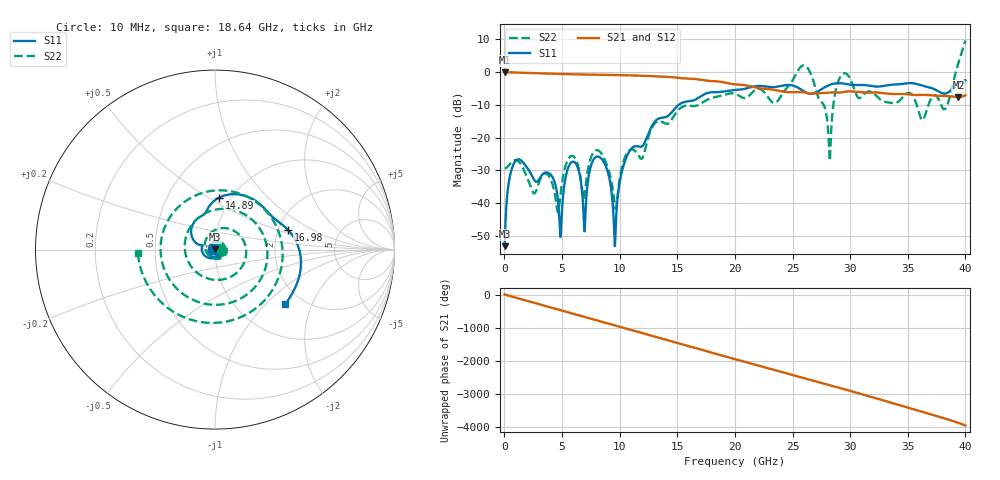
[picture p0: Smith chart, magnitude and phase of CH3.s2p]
!Keysight Technologies,N5245B,MY57181346,A.13.60.06
!Automatic Fixture Removal (AFR)
!Date: Thursday, August 08, 2019, 03:53:24
!S2P File: Measurements: S11,S21,S12,S22:
# MHz S  DB  R 50
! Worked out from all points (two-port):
!   4000 points, 10 MHz to 40 GHz, reference 50 ohm
!   highest |S21| = -0.01 dB at 10 MHz (marker M1); lowest = -7.6 dB at 39.4 GHz (marker M2)
!   |S21| within 3 dB of the highest: start of sweep to 18.87 GHz
!   lowest |S11| = -53.1 dB at 10 MHz (marker M3), VSWR 1.00, Z = 49.8 + j0.0607 ohm
!   |S11| at or under -10 dB: start of sweep to 15.12 GHz
!   |S22| runs from -42.8 to 9.7 dB; largest |S21 - S12| = 1.7e-14
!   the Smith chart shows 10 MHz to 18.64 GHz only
!   S11 on the Smith chart (normalised r, x): 10 MHz: 1.00, +0.00; 14.89 GHz: 0.88, +0.56; 16.98 GHz: 2.26, +0.60; 18.64 GHz: 1.62, -1.32
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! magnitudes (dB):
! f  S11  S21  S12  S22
! 10 MHz  -53.1  0.0  0.0  -29.4
! 1.09 GHz  -26.7  -0.2  -0.2  -27.0
! 4.07 GHz  -31.5  -0.5  -0.5  -33.3
! 4.84 GHz  -49.9  -0.6  -0.6  -37.9
! 5.72 GHz  -27.9  -0.7  -0.7  -25.7
! 6.68 GHz  -34.7  -0.7  -0.7  -34.4
! 6.97 GHz  -47.4  -0.7  -0.7  -36.7
! 8.38 GHz  -26.3  -0.8  -0.8  -24.7
! 9.6 GHz  -52.2  -0.9  -0.9  -41.2
! 10.6 GHz  -25.8  -1.0  -1.0  -24.9
! 13.34 GHz  -14.2  -1.3  -1.3  -15.0
! 14.89 GHz  -10.7  -1.7  -1.7  -12.4
! 16.98 GHz  -7.5  -2.3  -2.3  -9.7
! 18.64 GHz  -6.1  -2.9  -2.9  -7.3
! 20.01 GHz  -5.5  -3.7  -3.7  -6.6
! 26.67 GHz  -6.6  -6.6  -6.6  -1.3
! 28.2 GHz  -3.9  -6.2  -6.2  -25.8
! 29.38 GHz  -3.5  -6.1  -6.1  -0.5
! 33.34 GHz  -3.9  -6.6  -6.6  -9.3
! 38.21 GHz  -6.6  -7.3  -7.3  -11.3
! 39.4 GHz  -3.7  -7.6  -7.6  2.8
! 40 GHz  -2.4  -7.1  -7.1  9.7
